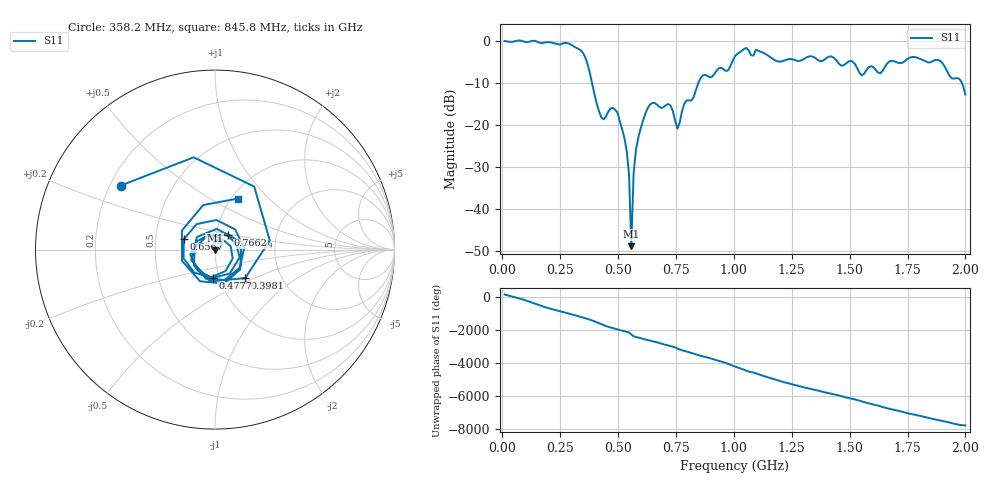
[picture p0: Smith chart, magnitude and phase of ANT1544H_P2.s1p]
!Created with skrf (http://scikit-rf.org).
# Hz S RI R 50.0
!freq ReS11 ImS11
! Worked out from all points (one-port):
!   201 points, 10 MHz to 2 GHz, reference 50 ohm
!   lowest |S11| = -48.8 dB at 557.2 MHz (marker M1), VSWR 1.01, Z = 49.8 - j0.306 ohm
!   |S11| at or under -10 dB: 387.4 MHz to 847 MHz (459.7 MHz wide, 74.5 % of centre); 1.984 GHz to end of sweep
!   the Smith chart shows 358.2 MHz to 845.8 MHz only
!   S11 on the Smith chart (normalised r, x): 358.2 MHz: 0.24, +0.29; 398.1 MHz: 1.32, -0.44; 477.6 MHz: 0.93, -0.30; 656.8 MHz: 0.70, +0.08; 766.2 MHz: 1.14, +0.18; 845.8 MHz: 1.07, +0.67
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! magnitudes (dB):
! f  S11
! 10 MHz  -0.1
! 258.8 MHz  -0.7
! 358.2 MHz  -3.9
! 398.1 MHz  -12.7
! 437.9 MHz  -18.7
! 477.6 MHz  -15.9
! 507.5 MHz  -19.2
! 537.4 MHz  -26.2
! 547.3 MHz  -31.8
! 557.2 MHz  -48.8
! 567.2 MHz  -31.4
! 577.1 MHz  -26.0
! 617 MHz  -17.5
! 656.8 MHz  -14.8
! 726.4 MHz  -15.4
! 756.2 MHz  -20.9
! 766.2 MHz  -19.4
! 786.1 MHz  -14.9
! 845.8 MHz  -10.2
! 975.1 MHz  -7.0
! 1.005 GHz  -3.7
! 1.055 GHz  -1.7
! 1.254 GHz  -4.4
! 1.502 GHz  -4.8
! 1.552 GHz  -8.2
! 1.751 GHz  -4.3
! 1.891 GHz  -4.8
! 2 GHz  -12.8
